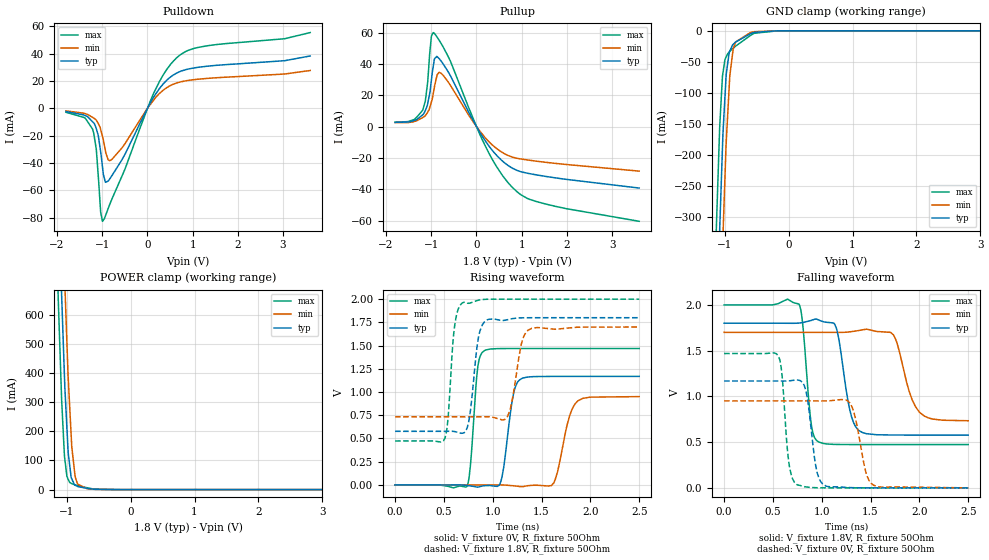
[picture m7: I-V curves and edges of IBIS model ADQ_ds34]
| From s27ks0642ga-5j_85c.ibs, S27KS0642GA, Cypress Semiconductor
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[Model]   ADQ_ds34
Model_type   I/O
Polarity   Non-Inverting
Enable   Active-High
Vinl = 0.54
Vinh = 1.26
Vmeas = 0.9
Vref = 0.9
Cref = 15pF
|   typ   min   max
C_comp   1.03pF   1.01pF   1.05pF
[Voltage Range]   1.8   1.7   2
[Temperature Range]   25   85   -40
[Pullup Reference]   1.8   1.7   2
[Pulldown Reference]   0   0   0
[Power Clamp Reference]   1.8   1.7   2
[GND Clamp Reference]   0   0   0
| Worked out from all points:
|   slope of the pulldown table from 0 to 0.27 V, typ, clamps not added: 18.2 ohm
|   slope of the pullup table from 0 to 0.27 V, typ, clamps not added: 22 ohm
|   falling waveform, V_fixture 1.8V, R_fixture 50Ohm: 20-80 % time 109ps typ, 151ps min, 69.7ps max; typ from 1.8 V to 0.577 V
|   rising waveform, V_fixture 0V, R_fixture 50Ohm: 20-80 % time 86.2ps typ, 119ps min, 59.2ps max; typ from 0 V to 1.17 V
|   rising waveform, V_fixture 1.8V, R_fixture 50Ohm: 20-80 % time 74.7ps typ, 90.1ps min, 61.3ps max; typ from 0.577 V to 1.8 V
|   falling waveform, V_fixture 0V, R_fixture 50Ohm: 20-80 % time 81.1ps typ, 103ps min, 63.2ps max; typ from 1.17 V to 0 V
[Pulldown]
|   Voltage   I(typ)   I(min)   I(max)
-1.8V     -2.359mA   -1.898mA   -2.933mA
-1.374V   -5.373mA   -3.95mA    -7.265mA
-1.214V   -9.839mA   -6.57mA    -15.16mA
-1.13V    -15.01mA   -8.712mA   -30.24mA
-1.034V   -31.79mA   -15.51mA   -76.11mA
-994mV    -42.88mA   -20.56mA   -82.71mA
-928.8mV  -54.16mA   -31.13mA   -78.76mA
-782mV    -49.14mA   -37.3mA    -66.17mA
142mV     8.49mA     6.244mA    11.29mA
648mV     25.8mA     18.55mA    37.02mA
1.118V    29.99mA    21.28mA    44.54mA
3.6V      38.3mA     27.67mA    55.44mA
[GND Clamp]
|   Voltage   I(typ)   I(min)   I(max)
-1.8V     -3.484A    -3.673A    -3.305A
-1.13V    -506.4mA   -699mA     -317mA
-1.076V   -315.6mA   -498.5mA   -152.1mA
-1.034V   -187mA     -352.3mA   -72.88mA
-1.024V   -160.4mA   -322.7mA   -66.06mA
-975.6mV  -69.57mA   -179.3mA   -41.68mA
-919.4mV  -32.65mA   -72.15mA   -33.05mA
-866.7mV  -21.83mA   -29.3mA    -28.01mA
-828mV    -17.97mA   -17.85mA   -24.6mA
-598.1mV  -4.679mA   -2.834mA   -7.529mA
-178.2mV  -180nA     -307.2nA   -17.78uA
3.6V      0A         0A         0A
[Pullup]
|   Voltage   I(typ)   I(min)   I(max)
-1.8V     2.708mA    2.577mA    2.774mA
-1.374V   3.941mA    3.276mA    4.575mA
-1.188V   7.539mA    5.787mA    10.46mA
-1.087V   13.35mA    8.772mA    26.27mA
-996mV    29.74mA    15.71mA    57.78mA
-952mV    39.1mA     21.61mA    60.04mA
-868.4mV  44.6mA     33.18mA    57.1mA
-782mV    41.88mA    34.09mA    53.14mA
255.3mV   -11.54mA   -9.031mA   -15.79mA
902mV     -28.02mA   -20.26mA   -41.7mA
1.55V     -31.88mA   -22.86mA   -49.56mA
3.6V      -39.24mA   -28.42mA   -60.46mA
[POWER Clamp]
|   Voltage   I(typ)   I(min)   I(max)
-1.8V     6.849A     7.225A     6.488A
-1.139V   1.108A     1.509A     714.5mA
-1.13V    1.043A     1.441A     648.4mA
-1.078V   667.7mA    1.052A     309.3mA
-1.028V   350.9mA    705.7mA    104.5mA
-996mV    213.8mA    507.1mA    45.81mA
-975.6mV  127.2mA    385.5mA    35.24mA
-919.4mV  36.84mA    146.9mA    20.27mA
-866.7mV  15.21mA    44.46mA    16.24mA
-829.3mV  10.83mA    19.44mA    14.02mA
-679.7mV  4.268mA    3.057mA    6.25mA
3.6V      0A         0A         0A
[Ramp]
R_load = 50
|   typ   min   max
dV/dt_r 7.0096E-01/8.5820E-11   5.7039E-01/1.1855E-10   8.8117E-01/5.8960E-11
dV/dt_f 7.3377E-01/1.0835E-10   5.7980E-01/1.4967E-10   9.1597E-01/6.9682E-11
[Falling Waveform]
V_fixture = 1.8V
V_fixture_min = 1.7V
V_fixture_max = 2V
R_fixture = 50Ohm
C_fixture = 0F
|   Time   V(typ)   V(min)   V(max)
0s        1.8V       1.7V       2V
765ps     1.802V     1.7V       2.01V
895ps     1.831V     1.7V       681mV
970ps     1.834V     1.7V       501mV
1.15ns    1.745V     1.699V     474.8mV
1.285ns   863.5mV    1.706V     473.6mV
1.375ns   631mV      1.719V     473.5mV
1.735ns   577.6mV    1.672V     473.4mV
2.005ns   577.1mV    822.5mV    473.4mV
2.5ns     577mV      733.7mV    473.4mV
[Rising Waveform]
V_fixture = 0V
V_fixture_min = 0V
V_fixture_max = 0V
R_fixture = 50Ohm
C_fixture = 0F
|   Time   V(typ)   V(min)   V(max)
0s        0V         0V         0V
735ps     -5.583mV   0V         -16.89mV
770ps     -10.28mV   649.9nV    191.2mV
845ps     -23.86mV   -3.048uV   1.251V
915ps     -7.827mV   -27.01uV   1.446V
1.085ns   43.45mV    356.8uV    1.468V
1.27ns    1.126V     -16.11mV   1.468V
1.625ns   1.168V     21.72mV    1.469V
1.87ns    1.168V     903.1mV    1.469V
2.5ns     1.168V     950.7mV    1.469V
[Rising Waveform]
V_fixture = 1.8V
V_fixture_min = 1.7V
V_fixture_max = 2V
R_fixture = 50Ohm
C_fixture = 0F
|   Time   V(typ)   V(min)   V(max)
0s        577.1mV    733.1mV    473.4mV
510ps     577.1mV    733.1mV    501.2mV
610ps     574.4mV    733.1mV    1.711V
690ps     556.7mV    733.1mV    1.959V
760ps     715.1mV    733.1mV    1.956V
860ps     1.618V     733.1mV    1.99V
945ps     1.777V     734mV      1.999V
1.155ns   1.779V     745.2mV    2V
1.37ns    1.8V       1.67V      2V
2.5ns     1.8V       1.7V       2V
[Falling Waveform]
|Gnd
V_fixture = 0V
V_fixture_min = 0V
V_fixture_max = 0V
R_fixture = 50Ohm
C_fixture = 0F
|   Time   V(typ)   V(min)   V(max)
0s        1.168V     950.8mV    1.469V
555ps     1.168V     950.8mV    1.444V
665ps     1.17V      950.8mV    264.3mV
745ps     1.179V     950.8mV    35.6mV
840ps     1.051V     950.8mV    10.32mV
935ps     262.7mV    950.8mV    1.979mV
1.01ns    40.84mV    950.7mV    491uV
1.29ns    3.044mV    926.2mV    5.883uV
1.525ns   109.5uV    32.87mV    0V
2.5ns     0V         4.194uV    0V
